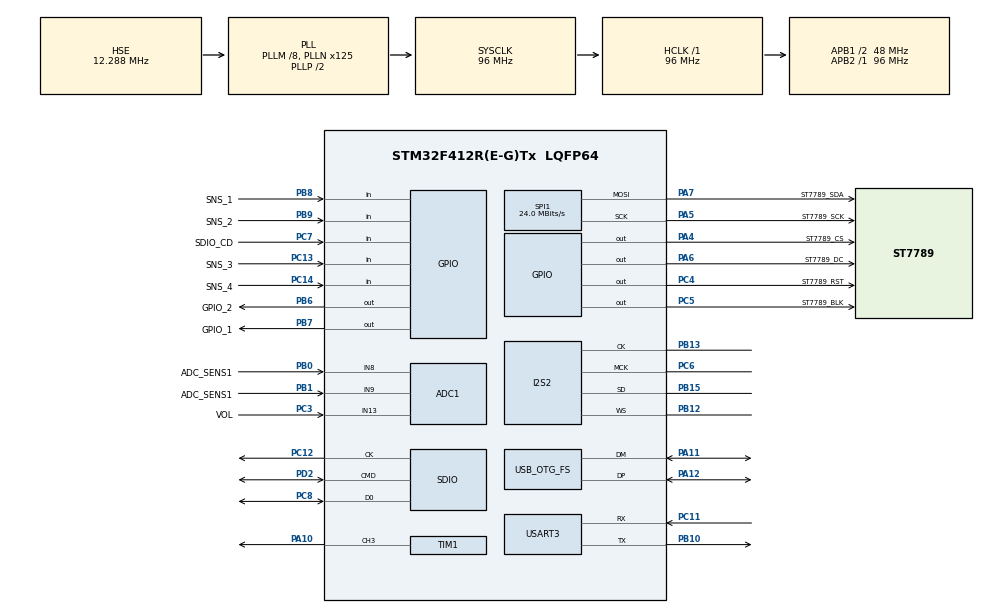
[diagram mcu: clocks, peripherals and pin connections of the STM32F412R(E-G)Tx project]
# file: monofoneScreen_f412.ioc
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ADC1.Channel-6\#ChannelRegularConversion=ADC_CHANNEL_8
ADC1.Channel-7\#ChannelInjectedConversion=ADC_CHANNEL_8
ADC1.Channel-8\#ChannelInjectedConversion=ADC_CHANNEL_9
ADC1.Channel-9\#ChannelInjectedConversion=ADC_CHANNEL_13
ADC1.ExternalTrigInjecConv=ADC_EXTERNALTRIGINJECCONV_T4_CC3
ADC1.InjNumberOfConversion=3
ADC1.InjectedOffset-7\#ChannelInjectedConversion=0
ADC1.InjectedOffset-8\#ChannelInjectedConversion=0
ADC1.InjectedOffset-9\#ChannelInjectedConversion=0
ADC1.InjectedRank-7\#ChannelInjectedConversion=1
ADC1.InjectedRank-8\#ChannelInjectedConversion=2
ADC1.InjectedRank-9\#ChannelInjectedConversion=3
ADC1.NbrOfConversionFlag=1
ADC1.Rank-6\#ChannelRegularConversion=1
ADC1.SamplingTime-6\#ChannelRegularConversion=ADC_SAMPLETIME_3CYCLES
ADC1.SamplingTime-7\#ChannelInjectedConversion=ADC_SAMPLETIME_3CYCLES
ADC1.SamplingTime-8\#ChannelInjectedConversion=ADC_SAMPLETIME_3CYCLES
ADC1.SamplingTime-9\#ChannelInjectedConversion=ADC_SAMPLETIME_3CYCLES
ADC1.master=1
Dma.Request0=SPI2_TX
Dma.Request1=TIM1_CH3
Dma.SPI2_TX.0.Direction=DMA_MEMORY_TO_PERIPH
Dma.SPI2_TX.0.FIFOMode=DMA_FIFOMODE_ENABLE
Dma.SPI2_TX.0.FIFOThreshold=DMA_FIFO_THRESHOLD_FULL
Dma.SPI2_TX.0.Instance=DMA1_Stream4
Dma.SPI2_TX.0.MemBurst=DMA_MBURST_INC4
Dma.SPI2_TX.0.MemDataAlignment=DMA_MDATAALIGN_HALFWORD
Dma.SPI2_TX.0.MemInc=DMA_MINC_ENABLE
Dma.SPI2_TX.0.Mode=DMA_NORMAL
Dma.SPI2_TX.0.PeriphBurst=DMA_PBURST_SINGLE
Dma.SPI2_TX.0.PeriphDataAlignment=DMA_PDATAALIGN_HALFWORD
Dma.SPI2_TX.0.PeriphInc=DMA_PINC_DISABLE
Dma.SPI2_TX.0.Priority=DMA_PRIORITY_VERY_HIGH
Dma.TIM1_CH3.1.Direction=DMA_MEMORY_TO_PERIPH
Dma.TIM1_CH3.1.FIFOMode=DMA_FIFOMODE_DISABLE
Dma.TIM1_CH3.1.Instance=DMA2_Stream6
Dma.TIM1_CH3.1.MemDataAlignment=DMA_MDATAALIGN_HALFWORD
Dma.TIM1_CH3.1.MemInc=DMA_MINC_ENABLE
Dma.TIM1_CH3.1.Mode=DMA_NORMAL
Dma.TIM1_CH3.1.PeriphDataAlignment=DMA_PDATAALIGN_HALFWORD
Dma.TIM1_CH3.1.PeriphInc=DMA_PINC_DISABLE
Dma.TIM1_CH3.1.Priority=DMA_PRIORITY_LOW
FATFS.BSP.number=1
FATFS._FS_LOCK=10
FATFS._MAX_SS=4096
FATFS._USE_FIND=1
FATFS._USE_LFN=1
FATFS0.BSP.STBoard=false
FATFS0.BSP.api=Unknown
FATFS0.BSP.i2caddr=0
FATFS0.BSP.instance=PC7
FATFS0.BSP.ip=GPIO
FATFS0.BSP.mode=Input
FATFS0.BSP.name=Detect_SDIO
FATFS0.BSP.solution=PC7
I2S2.AudioFreq=I2S_AUDIOFREQ_48K
I2S2.ErrorAudioFreq=0.0 %
I2S2.FullDuplexMode=I2S_FULLDUPLEXMODE_DISABLE
I2S2.Instance=SPI$Index
I2S2.RealAudioFreq=48.0 KHz
I2S2.VirtualMode=I2S_MODE_MASTER
Mcu.Family=STM32F4
Mcu.Name=STM32F412R(E-G)Tx
Mcu.Package=LQFP64
NVIC.ADC_IRQn=true\:0\:0\:false\:false\:true\:true\:true
NVIC.DMA1_Stream4_IRQn=true\:0\:0\:true\:false\:true\:false\:true
NVIC.DMA2_Stream6_IRQn=true\:1\:0\:true\:false\:true\:false\:true
NVIC.OTG_FS_IRQn=true\:0\:0\:false\:false\:true\:false\:true
NVIC.PriorityGroup=NVIC_PRIORITYGROUP_4
NVIC.SPI2_IRQn=true\:1\:0\:true\:false\:true\:true\:true
NVIC.TIM1_CC_IRQn=true\:0\:0\:false\:false\:true\:true\:true
NVIC.TIM8_CC_IRQn=true\:0\:0\:false\:false\:true\:true\:true
PA10.Signal=S_TIM1_CH3
PA11.Mode=Device_Only
PA11.Signal=USB_OTG_FS_DM
PA12.Mode=Device_Only
PA12.Signal=USB_OTG_FS_DP
PA13.Mode=Trace_Asynchronous_SW
PA13.Signal=SYS_JTMS-SWDIO
PA14.Mode=Trace_Asynchronous_SW
PA14.Signal=SYS_JTCK-SWCLK
PA4.GPIO_Label=ST7789_CS
PA4.Signal=GPIO_Output
PA5.GPIO_Label=ST7789_SCK
PA5.Mode=TX_Only_Simplex_Unidirect_Master
PA5.Signal=SPI1_SCK
PA6.GPIO_Label=ST7789_DC
PA6.Signal=GPIO_Output
PA7.GPIO_Label=ST7789_SDA
PA7.Mode=TX_Only_Simplex_Unidirect_Master
PA7.Signal=SPI1_MOSI
PB0.GPIO_Label=ADC_SENS1
PB0.Signal=ADCx_IN8
PB1.GPIO_Label=ADC_SENS1
PB1.Signal=ADCx_IN9
PB10.Mode=Asynchronous
PB10.Signal=USART3_TX
PB12.Mode=Half_Duplex_Master
PB12.Signal=I2S2_WS
PB13.Mode=Half_Duplex_Master
PB13.Signal=I2S2_CK
PB15.Mode=Half_Duplex_Master
PB15.Signal=I2S2_SD
PB3.Mode=Trace_Asynchronous_SW
PB3.Signal=SYS_JTDO-SWO
PB6.GPIO_Label=GPIO_2
PB6.Signal=GPIO_Output
PB7.GPIO_Label=GPIO_1
PB7.Signal=GPIO_Output
PB8.GPIO_Label=SNS_1
PB8.Signal=GPIO_Input
PB9.GPIO_Label=SNS_2
PB9.Signal=GPIO_Input
PC11.Mode=Asynchronous
PC11.Signal=USART3_RX
PC12.GPIO_PuPd=GPIO_PULLUP
PC12.Mode=SD_1_bit
PC12.Signal=SDIO_CK
PC13.GPIO_Label=SNS_3
PC13.Signal=GPIO_Input
PC14-OSC32_IN.GPIO_Label=SNS_4
PC14-OSC32_IN.Signal=GPIO_Input
PC3.GPIO_Label=VOL
PC3.Signal=ADCx_IN13
PC4.GPIO_Label=ST7789_RST
PC4.Signal=GPIO_Output
PC5.GPIO_Label=ST7789_BLK
PC5.Signal=GPIO_Output
PC6.Mode=Master_Clock_Activated
PC6.Signal=I2S2_MCK
PC7.GPIO_Label=SDIO_CD
PC7.GPIO_PuPd=GPIO_PULLUP
PC7.Signal=GPIO_Input
PC8.GPIO_PuPd=GPIO_PULLUP
PC8.Mode=SD_1_bit
PC8.Signal=SDIO_D0
PD2.GPIO_PuPd=GPIO_PULLUP
PD2.Mode=SD_1_bit
PD2.Signal=SDIO_CMD
PH0\ -\ OSC_IN.Mode=HSE-External-Oscillator
PH0\ -\ OSC_IN.Signal=RCC_OSC_IN
PH1\ -\ OSC_OUT.Mode=HSE-External-Oscillator
PH1\ -\ OSC_OUT.Signal=RCC_OSC_OUT
ProjectManager.HeapSize=0x3000
ProjectManager.StackSize=0x1200
ProjectManager.TargetToolchain=STM32CubeIDE
RCC.AHBFreq_Value=96000000
RCC.APB1CLKDivider=RCC_HCLK_DIV2
RCC.APB1Freq_Value=48000000
RCC.APB1TimFreq_Value=96000000
RCC.APB2Freq_Value=96000000
RCC.APB2TimFreq_Value=96000000
RCC.CortexFreq_Value=96000000
RCC.HCLKFreq_Value=96000000
RCC.HSE_VALUE=12288000
RCC.LockedElements=I2S1output
RCC.PLLI2SM=6
RCC.PLLI2SN=144
RCC.PLLM=8
RCC.PLLN=125
RCC.PLLQ=4
RCC.SYSCLKFreq_VALUE=96000000
RCC.SYSCLKSource=RCC_SYSCLKSOURCE_PLLCLK
RCC.USBFreq_Value=48000000
RCC.VCOOutputFreq_Value=192000000
SDIO.ClockDiv=6
SH.ADCx_IN13.0=ADC1_IN13,IN13
SH.ADCx_IN8.0=ADC1_IN8,IN8
SH.ADCx_IN9.0=ADC1_IN9,IN9
SH.S_TIM1_CH3.0=TIM1_CH3,PWM Generation3 CH3
SPI1.BaudRatePrescaler=SPI_BAUDRATEPRESCALER_4
SPI1.CLKPhase=SPI_PHASE_1EDGE
SPI1.CLKPolarity=SPI_POLARITY_HIGH
SPI1.CalculateBaudRate=24.0 MBits/s
SPI1.Direction=SPI_DIRECTION_2LINES
SPI1.Mode=SPI_MODE_MASTER
SPI1.VirtualType=VM_MASTER
TIM1.Channel-PWM\ Generation3\ CH3=TIM_CHANNEL_3
TIM1.OCPolarity_3=TIM_OCPOLARITY_LOW
TIM1.Period=120
TIM4.Channel-Output\ Compare3\ No\ Output=TIM_CHANNEL_3
TIM4.OCMode_3=TIM_OCMODE_TOGGLE
TIM4.Period=500
TIM4.Prescaler=4800
TIM8.Channel-Output\ Compare1\ No\ Output=TIM_CHANNEL_1
TIM8.Period=600
TIM8.Prescaler=9600
USART3.VirtualMode=VM_ASYNC
USB_DEVICE.CLASS_NAME_FS=MSC
USB_DEVICE.PRODUCT_STRING_MSC_FS=Monofone Mass Storage
USB_DEVICE.USBD_LPM_ENABLED=0
USB_DEVICE.USBD_SELF_POWERED=0
USB_DEVICE.VirtualMode=Msc
USB_DEVICE.VirtualModeFS=Msc_FS
USB_OTG_FS.VirtualMode=Device_Only
VP_FATFS_VS_SDIO.Mode=SDIO
VP_TIM4_VS_no_output3.Mode=Output Compare3 No Output
VP_TIM8_VS_no_output1.Mode=Output Compare1 No Output
VP_USB_DEVICE_VS_USB_DEVICE_MSC_FS.Mode=MSC_FS
board=custom

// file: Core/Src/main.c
/* USER CODE BEGIN Header */
/**
 ******************************************************************************
 * @file           : main.c
 * @brief          : Main program body
 ******************************************************************************
 * @attention
 *
 * <h2><center>&copy; Copyright (c) 2020 STMicroelectronics.
 * All rights reserved.</center></h2>
 *
 * This software component is licensed by ST under BSD 3-Clause license,
 * the "License"; You may not use this file except in compliance with the
 * License. You may obtain a copy of the License at:
 *                        opensource.org/licenses/BSD-3-Clause
 *
 ******************************************************************************
 */
/* USER CODE END Header */
#include "main.h"
#include "fatfs.h"
#include "usb_device.h"

/* USER CODE BEGIN Includes */
#include <stdio.h>
#include <math.h>
#include "player.h"
#include "audioplay.h"
#include "ws2812.h"
#include "st7789.h"
#include "usbd_core.h"
#include "ini.h"
#include "leds.h"
//#include "fonts.c"
/* USER CODE END Includes */

/* USER CODE BEGIN PTD */
typedef struct {
	TCHAR wavFile[255];
	TCHAR icoFile[255];
} langs;

/* USER CODE END PTD */

/* USER CODE BEGIN PD */
#define MAG_VAL 4280
#define MAX_BRIGHT 200

#define sizearray(a)  (sizeof(a) / sizeof((a)[0]))
/* USER CODE END PD */

ADC_HandleTypeDef hadc1;

I2S_HandleTypeDef hi2s2;
DMA_HandleTypeDef hdma_spi2_tx;

SD_HandleTypeDef hsd;

SPI_HandleTypeDef hspi1;

TIM_HandleTypeDef htim1;
TIM_HandleTypeDef htim4;
TIM_HandleTypeDef htim8;
DMA_HandleTypeDef hdma_tim1_ch3;

UART_HandleTypeDef huart3;

void SystemClock_Config(void);
static void MX_GPIO_Init(void);
static void MX_DMA_Init(void);
static void MX_ADC1_Init(void);
static void MX_I2S2_Init(void);
static void MX_SDIO_SD_Init(void);
static void MX_SPI1_Init(void);
static void MX_USART3_UART_Init(void);
static void MX_TIM1_Init(void);
static void MX_TIM4_Init(void);
static void MX_TIM8_Init(void);
/* USER CODE BEGIN PFP */

extern AUDIO_PLAYBACK_StateTypeDef AudioState;
AUDIO_ErrorTypeDef audio_error = AUDIO_ERROR_NONE;
extern uint16_t BUF_DMA[ARRAY_LEN];
extern USBD_HandleTypeDef hUsbDeviceFS;

HAL_SD_CardInfoTypeDef SDCardInfo;

FRESULT fr;
DIR dj;
FILINFO fno;

configuration config;

langs lang[5];

stateStruct state;

int sns1, snsTick, snsState, prev_snsState;

volatile int magVal1, magVal2, rawMagVal1, rawMagVal2, vol, magValSum;

int usbPcConnected = 0;
/* USER CODE END PFP */

/* USER CODE BEGIN 0 */
int _write(int file, char *ptr, int len) {

	int i = 0;
	for (i = 0; i < len; i++)
		ITM_SendChar((*ptr++));
	return len;
}

void HAL_ADCEx_InjectedConvCpltCallback(ADC_HandleTypeDef *hadc) {
	if (hadc->Instance == ADC1) //check if the interrupt comes from ACD1
	{

		rawMagVal1 = HAL_ADCEx_InjectedGetValue(&hadc1, ADC_INJECTED_RANK_1);
		rawMagVal2 = HAL_ADCEx_InjectedGetValue(&hadc1, ADC_INJECTED_RANK_2);

		vol = HAL_ADCEx_InjectedGetValue(&hadc1, ADC_INJECTED_RANK_3);

		sns1 = HAL_GPIO_ReadPin(SNS_1_GPIO_Port, SNS_1_Pin);
		if (sns1) {
			snsTick++;
		} else {
			snsTick--;
		}

		if (snsTick > 2) {
			snsTick = 2;
			snsState = 1;
		}
		if (snsTick < 0) {
			snsTick = 0;
			snsState = 0;
		}

		if ((prev_snsState == 0) && (snsState == 1)) {
			state.changeLang = 1;
		}
		prev_snsState = snsState;
	}
}

void HAL_TIM_OC_DelayElapsedCallback(TIM_HandleTypeDef *htim) {
	if (htim->Instance == TIM8) //check if the interrupt comes from TIM3
	{
		state.ledRefresh = 1;
	}
}

static int handler(void *user, const char *section, const char *name,
		const char *value) {
	configuration *pconfig = (configuration*) user;

#define MATCH(s, n) strcmp(section, s) == 0 && strcmp(name, n) == 0
	if (MATCH("led", "r")) {
		pconfig->RGB.r = atoi(value);
	} else if (MATCH("led", "g")) {
		pconfig->RGB.g = atoi(value);
	} else if (MATCH("led", "b")) {
		pconfig->RGB.b = atoi(value);
	} else if (MATCH("led", "animate")) {
		pconfig->animate = atoi(value);
	} else if (MATCH("led", "rainbow")) {
		pconfig->rainbow = atoi(value);
	} else if (MATCH("led", "brightMax")) {
		pconfig->brightMax = atoi(value);
	} else if (MATCH("led", "brightMin")) {
		pconfig->brightMin = atoi(value);
	} else if (MATCH("sound", "volume")) {
		pconfig->volume = atoi(value);
	} else {
		return 0; /* unknown section/name, error */
	}
	return 1;
}

FRESULT scan_files(char *path /* Start node to be scanned (***also used as work area***) */
) {
	FRESULT res;
	DIR dir;
	static FILINFO fno;

	res = f_opendir(&dir, path); /* Open the directory */
	if (res == FR_OK) {
		for (;;) {
			res = f_readdir(&dir, &fno); /* Read a directory item */
			if (res != FR_OK || fno.fname[0] == 0)
				break; /* Break on error or end of dir */
			if (fno.fattrib & AM_DIR) { /* It is a directory */
				DIR subDir;
				static FILINFO subFno;

				res = f_opendir(&subDir, fno.fname);

				res = f_findfirst(&subDir, &subFno, fno.fname, "*.wav"); /* Start to search for wav files */
				if (res == FR_OK && subFno.fname[0]) {
					state.numOfLang++;
					sprintf(lang[state.numOfLang].wavFile, "/%s/%s", fno.fname,
							subFno.fname);
				}

				res = f_findfirst(&subDir, &subFno, fno.fname, "*.bmp"); /* Start to search for wav files */
				if (res == FR_OK && subFno.fname[0]) {
					sprintf(lang[state.numOfLang].icoFile, "/%s/%s", fno.fname,
							subFno.fname);
				}

				res = f_closedir(&subDir);

			}
		}
		f_closedir(&dir);
	}

	return res;
}

/* USER CODE END 0 */

int main(void)
{

  /* MCU Configuration--------------------------------------------------------*/

  /* Reset of all peripherals, Initializes the Flash interface and the Systick. */
  HAL_Init();

  /* Configure the system clock */
  SystemClock_Config();

  /* Initialize all configured peripherals */
  MX_GPIO_Init();
  MX_DMA_Init();
  MX_ADC1_Init();
  MX_I2S2_Init();
  MX_SDIO_SD_Init();
  MX_SPI1_Init();
  MX_FATFS_Init();
  MX_USB_DEVICE_Init();
  MX_USART3_UART_Init();
  MX_TIM1_Init();
  MX_TIM4_Init();
  MX_TIM8_Init();
  /* USER CODE BEGIN 2 */
	HAL_TIM_OC_Start(&htim4, TIM_CHANNEL_3);
	HAL_ADCEx_InjectedStart_IT(&hadc1);
	HAL_TIM_OC_Start_IT(&htim8, TIM_CHANNEL_1);

	ws2812_init();
	//----------Screen_INIT-----------
	ST7789_Init();
	ST7789_Fill_Color(BLACK);

	//-----------------init SDcard--------------------
	if (init_FAT_FS() == 0) {
		ST7789_WriteString(64, 30, "MONOFON", Font_16x26, WHITE, BLACK);
		ST7789_WriteString(72, 60, "SD card", Font_16x26, WHITE, BLACK);
		ST7789_WriteString(72, 90, "Error!", Font_16x26, WHITE, BLACK);

		for (int i = 0; i < LED_COUNT; i++) {
			ws2812_setPixel_gammaCorrection(MAX_BRIGHT, 0, 0, i);
		}
		ws2812_light();
		while (1) {
			HAL_Delay(10);
		}
	}

	state.changeLang = 0;
	state.currentLang = 1;
	state.numOfLang = 0;
	state.phoneUp = 0;
	state.prevPhoneUp = 2;
	state.ledRefresh = 1;

  /* USER CODE END 2 */

  /* Infinite loop */
  /* USER CODE BEGIN WHILE */

//------------------------CHEK PC CONNECTION----------------------------------
	if (usbPcConnected) {
		ST7789_WriteString(96, 50, "USB", Font_16x26, WHITE, BLACK);
		ST7789_WriteString(88, 80, "Mass", Font_16x26, WHITE, BLACK);
		ST7789_WriteString(64, 110, "Storage", Font_16x26, WHITE, BLACK);
		ST7789_WriteString(72, 140, "Device", Font_16x26, WHITE, BLACK);
		ST7789_WriteString(48, 170, "Connected", Font_16x26, WHITE, BLACK);

		for (int i = 0; i < LED_COUNT; i++) {
			ws2812_setPixel_gammaCorrection(0, MAX_BRIGHT, 0, i);
		}
		ws2812_light();
		while (1) {
			HAL_Delay(100);
		}

	} else {
		if (USBD_Stop(&hUsbDeviceFS) != USBD_OK) {
			HAL_Delay(100);
		}
	}

	f_unlink("error.txt"); // delelet error file

	if (ini_parse_fatfs("config.ini", handler, &config) < 0) {
		printf("Can't load 'config.ini', set default\n");
		//writeErrorTxt("Can't load 'config.ini', set default\n");
		config.brightMax = 200;
		config.brightMin = 0;
		config.RGB.r = 0;
		config.RGB.g = 0;
		config.RGB.b = 200;
		config.animate = 1;
		config.rainbow = 0;
		config.volume = 60;
		return 1;
	}

	//---------LED_INIT---------------
	initLeds();

	//----------INIT-FILE-SYSTEM------------------------
	char buff[256];
	strcpy(buff, "/");
	fr = scan_files(buff);

	printf("Start loop\n");
	ST7789_Fill_Color(BLACK);
	while (1) {

		magVal1 = magVal1 * 0.9 + 0.1 * rawMagVal1;
		magVal2 = magVal2 * 0.9 + 0.1 * rawMagVal2;

		magValSum = magVal1 + magVal2;

		//if ((magVal1 < MAG_VAL) || (magVal2 < MAG_VAL)) {
		if (magValSum < MAG_VAL) {
			state.phoneUp = 1;
		} else {
			state.phoneUp = 0;
		}

		//---IF CHENGE LANG---------------------------
		if (state.changeLang) {
			AUDIO_PLAYER_Stop();
			state.currentLang++;
			if ((state.currentLang) > state.numOfLang) {
				state.currentLang = 1;
			}
			playWavFile(lang[state.currentLang].wavFile);
			if (state.currentLang == 1) {
				ST7789_DrawImage(0, 0, 240, 240, rus_ico);
			} else if (state.currentLang == 2) {
				ST7789_DrawImage(0, 0, 240, 240, eng_ico);
			}
			//ST7789_Fill_Color(BLACK);
			state.changeLang = 0;
		}

		//---CHEK MAGNET SENSOR----------------------
		if (state.phoneUp != state.prevPhoneUp) {
			if (state.phoneUp) {

				//hid_send_start();
				printf("phoneUp, statePlay \n");

				if (state.currentLang == 1) {
					ST7789_DrawImage(0, 0, 240, 240, rus_ico);
				} else if (state.currentLang == 2) {
					ST7789_DrawImage(0, 0, 240, 240, eng_ico);
				}

				HAL_Delay(300);
				playWavFile(lang[state.currentLang].wavFile);
				//free(data); // free allocated memory when you don't need
			} else {

				AUDIO_PLAYER_Stop();
				printf("phoneDown, stateStop \n");
				state.currentLang = 1;
				//hid_send_stop();
			}
			state.prevPhoneUp = state.phoneUp;
		}

		//---PROCESS SOUND----------------------
		audio_error = AUDIO_PLAYER_Process();
		if (audio_error != AUDIO_ERROR_NONE) {
			printf("Audio player error: %d \n", audio_error);
			AudioState = AUDIO_STATE_STOP;
		}

		//---led_effect----------------------
		if (state.ledRefresh) {
			refreshLeds();
			state.ledRefresh = 0;
		}

    /* USER CODE END WHILE */

	}
}

void SystemClock_Config(void)
{
  RCC_OscInitTypeDef RCC_OscInitStruct = {0};
  RCC_ClkInitTypeDef RCC_ClkInitStruct = {0};
  RCC_PeriphCLKInitTypeDef PeriphClkInitStruct = {0};

  /** Configure the main internal regulator output voltage
  */
  __HAL_RCC_PWR_CLK_ENABLE();
  __HAL_PWR_VOLTAGESCALING_CONFIG(PWR_REGULATOR_VOLTAGE_SCALE1);
  /** Initializes the RCC Oscillators according to the specified parameters
  * in the RCC_OscInitTypeDef structure.
  */
  RCC_OscInitStruct.OscillatorType = RCC_OSCILLATORTYPE_HSE;
  RCC_OscInitStruct.HSEState = RCC_HSE_ON;
  RCC_OscInitStruct.PLL.PLLState = RCC_PLL_ON;
  RCC_OscInitStruct.PLL.PLLSource = RCC_PLLSOURCE_HSE;
  RCC_OscInitStruct.PLL.PLLM = 8;
  RCC_OscInitStruct.PLL.PLLN = 125;
  RCC_OscInitStruct.PLL.PLLP = RCC_PLLP_DIV2;
  RCC_OscInitStruct.PLL.PLLQ = 4;
  RCC_OscInitStruct.PLL.PLLR = 2;
  if (HAL_RCC_OscConfig(&RCC_OscInitStruct) != HAL_OK)
  {
    Error_Handler();
  }
  /** Initializes the CPU, AHB and APB buses clocks
  */
  RCC_ClkInitStruct.ClockType = RCC_CLOCKTYPE_HCLK|RCC_CLOCKTYPE_SYSCLK
                              |RCC_CLOCKTYPE_PCLK1|RCC_CLOCKTYPE_PCLK2;
  RCC_ClkInitStruct.SYSCLKSource = RCC_SYSCLKSOURCE_PLLCLK;
  RCC_ClkInitStruct.AHBCLKDivider = RCC_SYSCLK_DIV1;
  RCC_ClkInitStruct.APB1CLKDivider = RCC_HCLK_DIV2;
  RCC_ClkInitStruct.APB2CLKDivider = RCC_HCLK_DIV1;

  if (HAL_RCC_ClockConfig(&RCC_ClkInitStruct, FLASH_LATENCY_3) != HAL_OK)
  {
    Error_Handler();
  }
  PeriphClkInitStruct.PeriphClockSelection = RCC_PERIPHCLK_I2S_APB1|RCC_PERIPHCLK_SDIO
                              |RCC_PERIPHCLK_CLK48;
  PeriphClkInitStruct.PLLI2S.PLLI2SN = 144;
  PeriphClkInitStruct.PLLI2S.PLLI2SM = 6;
  PeriphClkInitStruct.PLLI2S.PLLI2SR = 2;
  PeriphClkInitStruct.PLLI2S.PLLI2SQ = 2;
  PeriphClkInitStruct.Clk48ClockSelection = RCC_CLK48CLKSOURCE_PLLQ;
  PeriphClkInitStruct.SdioClockSelection = RCC_SDIOCLKSOURCE_CLK48;
  PeriphClkInitStruct.PLLI2SSelection = RCC_PLLI2SCLKSOURCE_PLLSRC;
  PeriphClkInitStruct.I2sApb1ClockSelection = RCC_I2SAPB1CLKSOURCE_PLLI2S;
  if (HAL_RCCEx_PeriphCLKConfig(&PeriphClkInitStruct) != HAL_OK)
  {
    Error_Handler();
  }
}

static void MX_ADC1_Init(void)
{

  ADC_ChannelConfTypeDef sConfig = {0};
  ADC_InjectionConfTypeDef sConfigInjected = {0};

  /** Configure the global features of the ADC (Clock, Resolution, Data Alignment and number of conversion)
  */
  hadc1.Instance = ADC1;
  hadc1.Init.ClockPrescaler = ADC_CLOCK_SYNC_PCLK_DIV4;
  hadc1.Init.Resolution = ADC_RESOLUTION_12B;
  hadc1.Init.ScanConvMode = ENABLE;
  hadc1.Init.ContinuousConvMode = DISABLE;
  hadc1.Init.DiscontinuousConvMode = DISABLE;
  hadc1.Init.ExternalTrigConvEdge = ADC_EXTERNALTRIGCONVEDGE_NONE;
  hadc1.Init.ExternalTrigConv = ADC_SOFTWARE_START;
  hadc1.Init.DataAlign = ADC_DATAALIGN_RIGHT;
  hadc1.Init.NbrOfConversion = 1;
  hadc1.Init.DMAContinuousRequests = DISABLE;
  hadc1.Init.EOCSelection = ADC_EOC_SINGLE_CONV;
  if (HAL_ADC_Init(&hadc1) != HAL_OK)
  {
    Error_Handler();
  }
  /** Configure for the selected ADC regular channel its corresponding rank in the sequencer and its sample time.
  */
  sConfig.Channel = ADC_CHANNEL_8;
  sConfig.Rank = 1;
  sConfig.SamplingTime = ADC_SAMPLETIME_3CYCLES;
  if (HAL_ADC_ConfigChannel(&hadc1, &sConfig) != HAL_OK)
  {
    Error_Handler();
  }
  /** Configures for the selected ADC injected channel its corresponding rank in the sequencer and its sample time
  */
  sConfigInjected.InjectedChannel = ADC_CHANNEL_8;
  sConfigInjected.InjectedRank = 1;
  sConfigInjected.InjectedNbrOfConversion = 3;
  sConfigInjected.InjectedSamplingTime = ADC_SAMPLETIME_3CYCLES;
  sConfigInjected.ExternalTrigInjecConvEdge = ADC_EXTERNALTRIGINJECCONVEDGE_RISING;
  sConfigInjected.ExternalTrigInjecConv = ADC_EXTERNALTRIGINJECCONV_T4_CC3;
  sConfigInjected.AutoInjectedConv = DISABLE;
  sConfigInjected.InjectedDiscontinuousConvMode = DISABLE;
  sConfigInjected.InjectedOffset = 0;
  if (HAL_ADCEx_InjectedConfigChannel(&hadc1, &sConfigInjected) != HAL_OK)
  {
    Error_Handler();
  }
  /** Configures for the selected ADC injected channel its corresponding rank in the sequencer and its sample time
  */
  sConfigInjected.InjectedChannel = ADC_CHANNEL_9;
  sConfigInjected.InjectedRank = 2;
  if (HAL_ADCEx_InjectedConfigChannel(&hadc1, &sConfigInjected) != HAL_OK)
  {
    Error_Handler();
  }
  /** Configures for the selected ADC injected channel its corresponding rank in the sequencer and its sample time
  */
  sConfigInjected.InjectedChannel = ADC_CHANNEL_13;
  sConfigInjected.InjectedRank = 3;
  if (HAL_ADCEx_InjectedConfigChannel(&hadc1, &sConfigInjected) != HAL_OK)
  {
    Error_Handler();
  }

}

static void MX_I2S2_Init(void)
{

  hi2s2.Instance = SPI2;
  hi2s2.Init.Mode = I2S_MODE_MASTER_TX;
  hi2s2.Init.Standard = I2S_STANDARD_PHILIPS;
  hi2s2.Init.DataFormat = I2S_DATAFORMAT_16B;
  hi2s2.Init.MCLKOutput = I2S_MCLKOUTPUT_ENABLE;
  hi2s2.Init.AudioFreq = I2S_AUDIOFREQ_48K;
  hi2s2.Init.CPOL = I2S_CPOL_LOW;
  hi2s2.Init.ClockSource = I2S_CLOCK_PLL;
  hi2s2.Init.FullDuplexMode = I2S_FULLDUPLEXMODE_DISABLE;
  if (HAL_I2S_Init(&hi2s2) != HAL_OK)
  {
    Error_Handler();
  }

}

static void MX_SDIO_SD_Init(void)
{

  hsd.Instance = SDIO;
  hsd.Init.ClockEdge = SDIO_CLOCK_EDGE_RISING;
  hsd.Init.ClockBypass = SDIO_CLOCK_BYPASS_DISABLE;
  hsd.Init.ClockPowerSave = SDIO_CLOCK_POWER_SAVE_DISABLE;
  hsd.Init.BusWide = SDIO_BUS_WIDE_1B;
  hsd.Init.HardwareFlowControl = SDIO_HARDWARE_FLOW_CONTROL_DISABLE;
  hsd.Init.ClockDiv = 6;

}

static void MX_SPI1_Init(void)
{

  /* SPI1 parameter configuration*/
  hspi1.Instance = SPI1;
  hspi1.Init.Mode = SPI_MODE_MASTER;
  hspi1.Init.Direction = SPI_DIRECTION_2LINES;
  hspi1.Init.DataSize = SPI_DATASIZE_8BIT;
  hspi1.Init.CLKPolarity = SPI_POLARITY_HIGH;
  hspi1.Init.CLKPhase = SPI_PHASE_1EDGE;
  hspi1.Init.NSS = SPI_NSS_SOFT;
  hspi1.Init.BaudRatePrescaler = SPI_BAUDRATEPRESCALER_4;
  hspi1.Init.FirstBit = SPI_FIRSTBIT_MSB;
  hspi1.Init.TIMode = SPI_TIMODE_DISABLE;
  hspi1.Init.CRCCalculation = SPI_CRCCALCULATION_DISABLE;
  hspi1.Init.CRCPolynomial = 10;
  if (HAL_SPI_Init(&hspi1) != HAL_OK)
  {
    Error_Handler();
  }

}

static void MX_TIM1_Init(void)
{

  TIM_MasterConfigTypeDef sMasterConfig = {0};
  TIM_OC_InitTypeDef sConfigOC = {0};
  TIM_BreakDeadTimeConfigTypeDef sBreakDeadTimeConfig = {0};

  htim1.Instance = TIM1;
  htim1.Init.Prescaler = 0;
  htim1.Init.CounterMode = TIM_COUNTERMODE_UP;
  htim1.Init.Period = 120;
  htim1.Init.ClockDivision = TIM_CLOCKDIVISION_DIV1;
  htim1.Init.RepetitionCounter = 0;
  htim1.Init.AutoReloadPreload = TIM_AUTORELOAD_PRELOAD_DISABLE;
  if (HAL_TIM_PWM_Init(&htim1) != HAL_OK)
  {
    Error_Handler();
  }
  sMasterConfig.MasterOutputTrigger = TIM_TRGO_RESET;
  sMasterConfig.MasterSlaveMode = TIM_MASTERSLAVEMODE_DISABLE;
  if (HAL_TIMEx_MasterConfigSynchronization(&htim1, &sMasterConfig) != HAL_OK)
  {
    Error_Handler();
  }
  sConfigOC.OCMode = TIM_OCMODE_PWM1;
  sConfigOC.Pulse = 0;
  sConfigOC.OCPolarity = TIM_OCPOLARITY_LOW;
  sConfigOC.OCNPolarity = TIM_OCNPOLARITY_HIGH;
  sConfigOC.OCFastMode = TIM_OCFAST_DISABLE;
  sConfigOC.OCIdleState = TIM_OCIDLESTATE_RESET;
  sConfigOC.OCNIdleState = TIM_OCNIDLESTATE_RESET;
  if (HAL_TIM_PWM_ConfigChannel(&htim1, &sConfigOC, TIM_CHANNEL_3) != HAL_OK)
  {
    Error_Handler();
  }
  sBreakDeadTimeConfig.OffStateRunMode = TIM_OSSR_DISABLE;
  sBreakDeadTimeConfig.OffStateIDLEMode = TIM_OSSI_DISABLE;
  sBreakDeadTimeConfig.LockLevel = TIM_LOCKLEVEL_OFF;
  sBreakDeadTimeConfig.DeadTime = 0;
  sBreakDeadTimeConfig.BreakState = TIM_BREAK_DISABLE;
  sBreakDeadTimeConfig.BreakPolarity = TIM_BREAKPOLARITY_HIGH;
  sBreakDeadTimeConfig.AutomaticOutput = TIM_AUTOMATICOUTPUT_DISABLE;
  if (HAL_TIMEx_ConfigBreakDeadTime(&htim1, &sBreakDeadTimeConfig) != HAL_OK)
  {
    Error_Handler();
  }
  HAL_TIM_MspPostInit(&htim1);

}

static void MX_TIM4_Init(void)
{

  TIM_MasterConfigTypeDef sMasterConfig = {0};
  TIM_OC_InitTypeDef sConfigOC = {0};

  htim4.Instance = TIM4;
  htim4.Init.Prescaler = 4800;
  htim4.Init.CounterMode = TIM_COUNTERMODE_UP;
  htim4.Init.Period = 500;
  htim4.Init.ClockDivision = TIM_CLOCKDIVISION_DIV1;
  htim4.Init.AutoReloadPreload = TIM_AUTORELOAD_PRELOAD_DISABLE;
  if (HAL_TIM_OC_Init(&htim4) != HAL_OK)
  {
    Error_Handler();
  }
  sMasterConfig.MasterOutputTrigger = TIM_TRGO_RESET;
  sMasterConfig.MasterSlaveMode = TIM_MASTERSLAVEMODE_DISABLE;
  if (HAL_TIMEx_MasterConfigSynchronization(&htim4, &sMasterConfig) != HAL_OK)
  {
    Error_Handler();
  }
  sConfigOC.OCMode = TIM_OCMODE_TOGGLE;
  sConfigOC.Pulse = 0;
  sConfigOC.OCPolarity = TIM_OCPOLARITY_HIGH;
  sConfigOC.OCFastMode = TIM_OCFAST_DISABLE;
  if (HAL_TIM_OC_ConfigChannel(&htim4, &sConfigOC, TIM_CHANNEL_3) != HAL_OK)
  {
    Error_Handler();
  }

}

static void MX_TIM8_Init(void)
{

  TIM_MasterConfigTypeDef sMasterConfig = {0};
  TIM_OC_InitTypeDef sConfigOC = {0};
  TIM_BreakDeadTimeConfigTypeDef sBreakDeadTimeConfig = {0};

  htim8.Instance = TIM8;
  htim8.Init.Prescaler = 9600;
  htim8.Init.CounterMode = TIM_COUNTERMODE_UP;
  htim8.Init.Period = 600;
  htim8.Init.ClockDivision = TIM_CLOCKDIVISION_DIV1;
  htim8.Init.RepetitionCounter = 0;
  htim8.Init.AutoReloadPreload = TIM_AUTORELOAD_PRELOAD_DISABLE;
  if (HAL_TIM_OC_Init(&htim8) != HAL_OK)
  {
    Error_Handler();
  }
  sMasterConfig.MasterOutputTrigger = TIM_TRGO_RESET;
  sMasterConfig.MasterSlaveMode = TIM_MASTERSLAVEMODE_DISABLE;
  if (HAL_TIMEx_MasterConfigSynchronization(&htim8, &sMasterConfig) != HAL_OK)
  {
    Error_Handler();
  }
  sConfigOC.OCMode = TIM_OCMODE_TIMING;
  sConfigOC.Pulse = 0;
  sConfigOC.OCPolarity = TIM_OCPOLARITY_HIGH;
  sConfigOC.OCNPolarity = TIM_OCNPOLARITY_HIGH;
  sConfigOC.OCFastMode = TIM_OCFAST_DISABLE;
  sConfigOC.OCIdleState = TIM_OCIDLESTATE_RESET;
  sConfigOC.OCNIdleState = TIM_OCNIDLESTATE_RESET;
  if (HAL_TIM_OC_ConfigChannel(&htim8, &sConfigOC, TIM_CHANNEL_1) != HAL_OK)
  {
    Error_Handler();
  }
  sBreakDeadTimeConfig.OffStateRunMode = TIM_OSSR_DISABLE;
  sBreakDeadTimeConfig.OffStateIDLEMode = TIM_OSSI_DISABLE;
  sBreakDeadTimeConfig.LockLevel = TIM_LOCKLEVEL_OFF;
  sBreakDeadTimeConfig.DeadTime = 0;
  sBreakDeadTimeConfig.BreakState = TIM_BREAK_DISABLE;
  sBreakDeadTimeConfig.BreakPolarity = TIM_BREAKPOLARITY_HIGH;
  sBreakDeadTimeConfig.AutomaticOutput = TIM_AUTOMATICOUTPUT_DISABLE;
  if (HAL_TIMEx_ConfigBreakDeadTime(&htim8, &sBreakDeadTimeConfig) != HAL_OK)
  {
    Error_Handler();
  }

}

static void MX_USART3_UART_Init(void)
{

  huart3.Instance = USART3;
  huart3.Init.BaudRate = 115200;
  huart3.Init.WordLength = UART_WORDLENGTH_8B;
  huart3.Init.StopBits = UART_STOPBITS_1;
  huart3.Init.Parity = UART_PARITY_NONE;
  huart3.Init.Mode = UART_MODE_TX_RX;
  huart3.Init.HwFlowCtl = UART_HWCONTROL_NONE;
  huart3.Init.OverSampling = UART_OVERSAMPLING_16;
  if (HAL_UART_Init(&huart3) != HAL_OK)
  {
    Error_Handler();
  }

}

static void MX_DMA_Init(void)
{

  /* DMA controller clock enable */
  __HAL_RCC_DMA1_CLK_ENABLE();
  __HAL_RCC_DMA2_CLK_ENABLE();

  /* DMA interrupt init */
  /* DMA1_Stream4_IRQn interrupt configuration */
  HAL_NVIC_SetPriority(DMA1_Stream4_IRQn, 0, 0);
  HAL_NVIC_EnableIRQ(DMA1_Stream4_IRQn);
  /* DMA2_Stream6_IRQn interrupt configuration */
  HAL_NVIC_SetPriority(DMA2_Stream6_IRQn, 1, 0);
  HAL_NVIC_EnableIRQ(DMA2_Stream6_IRQn);

}

static void MX_GPIO_Init(void)
{
  GPIO_InitTypeDef GPIO_InitStruct = {0};

  /* GPIO Ports Clock Enable */
  __HAL_RCC_GPIOC_CLK_ENABLE();
  __HAL_RCC_GPIOH_CLK_ENABLE();
  __HAL_RCC_GPIOA_CLK_ENABLE();
  __HAL_RCC_GPIOB_CLK_ENABLE();
  __HAL_RCC_GPIOD_CLK_ENABLE();

  /*Configure GPIO pin Output Level */
  HAL_GPIO_WritePin(GPIOA, ST7789_CS_Pin|ST7789_DC_Pin, GPIO_PIN_RESET);

  /*Configure GPIO pin Output Level */
  HAL_GPIO_WritePin(GPIOC, ST7789_RST_Pin|ST7789_BLK_Pin, GPIO_PIN_RESET);

  /*Configure GPIO pin Output Level */
  HAL_GPIO_WritePin(GPIOB, GPIO_2_Pin|GPIO_1_Pin, GPIO_PIN_RESET);

  /*Configure GPIO pins : SNS_3_Pin SNS_4_Pin */
  GPIO_InitStruct.Pin = SNS_3_Pin|SNS_4_Pin;
  GPIO_InitStruct.Mode = GPIO_MODE_INPUT;
  GPIO_InitStruct.Pull = GPIO_NOPULL;
  HAL_GPIO_Init(GPIOC, &GPIO_InitStruct);

  /*Configure GPIO pins : ST7789_CS_Pin ST7789_DC_Pin */
  GPIO_InitStruct.Pin = ST7789_CS_Pin|ST7789_DC_Pin;
  GPIO_InitStruct.Mode = GPIO_MODE_OUTPUT_PP;
  GPIO_InitStruct.Pull = GPIO_NOPULL;
  GPIO_InitStruct.Speed = GPIO_SPEED_FREQ_LOW;
  HAL_GPIO_Init(GPIOA, &GPIO_InitStruct);

  /*Configure GPIO pins : ST7789_RST_Pin ST7789_BLK_Pin */
  GPIO_InitStruct.Pin = ST7789_RST_Pin|ST7789_BLK_Pin;
  GPIO_InitStruct.Mode = GPIO_MODE_OUTPUT_PP;
  GPIO_InitStruct.Pull = GPIO_NOPULL;
  GPIO_InitStruct.Speed = GPIO_SPEED_FREQ_LOW;
  HAL_GPIO_Init(GPIOC, &GPIO_InitStruct);

  /*Configure GPIO pin : SDIO_CD_Pin */
  GPIO_InitStruct.Pin = SDIO_CD_Pin;
  GPIO_InitStruct.Mode = GPIO_MODE_INPUT;
  GPIO_InitStruct.Pull = GPIO_PULLUP;
  HAL_GPIO_Init(SDIO_CD_GPIO_Port, &GPIO_InitStruct);

  /*Configure GPIO pins : GPIO_2_Pin GPIO_1_Pin */
  GPIO_InitStruct.Pin = GPIO_2_Pin|GPIO_1_Pin;
  GPIO_InitStruct.Mode = GPIO_MODE_OUTPUT_PP;
  GPIO_InitStruct.Pull = GPIO_NOPULL;
  GPIO_InitStruct.Speed = GPIO_SPEED_FREQ_LOW;
  HAL_GPIO_Init(GPIOB, &GPIO_InitStruct);

  /*Configure GPIO pins : SNS_1_Pin SNS_2_Pin */
  GPIO_InitStruct.Pin = SNS_1_Pin|SNS_2_Pin;
  GPIO_InitStruct.Mode = GPIO_MODE_INPUT;
  GPIO_InitStruct.Pull = GPIO_NOPULL;
  HAL_GPIO_Init(GPIOB, &GPIO_InitStruct);

}

void Error_Handler(void)
{
}

/************************ (C) COPYRIGHT STMicroelectronics *****END OF FILE****/
